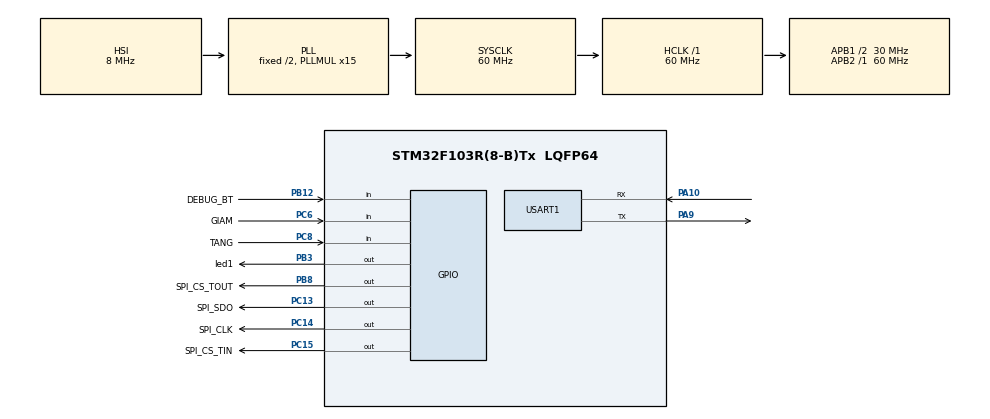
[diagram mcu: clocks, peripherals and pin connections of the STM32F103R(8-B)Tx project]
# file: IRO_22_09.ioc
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Mcu.Family=STM32F1
Mcu.Name=STM32F103R(8-B)Tx
Mcu.Package=LQFP64
NVIC.PriorityGroup=NVIC_PRIORITYGROUP_4
NVIC.TIM2_IRQn=true\:0\:0\:false\:false\:true\:true
NVIC.USART1_IRQn=true\:0\:0\:false\:false\:true\:true
PA10.Mode=Asynchronous
PA10.Signal=USART1_RX
PA13.Mode=Serial_Wire
PA13.Signal=SYS_JTMS-SWDIO
PA14.Mode=Serial_Wire
PA14.Signal=SYS_JTCK-SWCLK
PA9.Mode=Asynchronous
PA9.Signal=USART1_TX
PB12.GPIO_Label=DEBUG_BT
PB12.GPIO_PuPd=GPIO_PULLUP
PB12.Signal=GPIO_Input
PB3.GPIO_Label=led1
PB3.Signal=GPIO_Output
PB8.GPIO_Label=SPI_CS_TOUT
PB8.Signal=GPIO_Output
PC13-TAMPER-RTC.GPIO_Label=SPI_SDO
PC13-TAMPER-RTC.Signal=GPIO_Output
PC14-OSC32_IN.GPIO_Label=SPI_CLK
PC14-OSC32_IN.Signal=GPIO_Output
PC15-OSC32_OUT.GPIO_Label=SPI_CS_TIN
PC15-OSC32_OUT.Signal=GPIO_Output
PC6.GPIO_Label=GIAM
PC6.GPIO_PuPd=GPIO_PULLUP
PC6.Signal=GPIO_Input
PC8.GPIO_Label=TANG
PC8.GPIO_PuPd=GPIO_PULLUP
PC8.Signal=GPIO_Input
ProjectManager.HeapSize=0x200
ProjectManager.StackSize=0x400
ProjectManager.TargetToolchain=MDK-ARM V5
RCC.AHBFreq_Value=60000000
RCC.APB1CLKDivider=RCC_HCLK_DIV2
RCC.APB1Freq_Value=30000000
RCC.APB1TimFreq_Value=60000000
RCC.APB2Freq_Value=60000000
RCC.APB2TimFreq_Value=60000000
RCC.HCLKFreq_Value=60000000
RCC.PLLMUL=RCC_PLL_MUL15
RCC.SYSCLKFreq_VALUE=60000000
RCC.SYSCLKSource=RCC_SYSCLKSOURCE_PLLCLK
RCC.USBFreq_Value=60000000
TIM2.AutoReloadPreload=TIM_AUTORELOAD_PRELOAD_ENABLE
TIM2.Period=9999
TIM2.Prescaler=6000
USART1.VirtualMode=VM_ASYNC
VP_TIM2_VS_ClockSourceINT.Mode=Internal
board=custom

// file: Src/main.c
/**
  ******************************************************************************
  * @file           : main.c
  * @brief          : Main program body
  ******************************************************************************
  ** This notice applies to any and all portions of this file
  * that are not between comment pairs USER CODE BEGIN and
  * USER CODE END. Other portions of this file, whether
  * inserted by the user or by software development tools
  * are owned by their respective copyright owners.
  *
  * COPYRIGHT(c) 2018 STMicroelectronics
  *
  * Redistribution and use in source and binary forms, with or without modification,
  * are permitted provided that the following conditions are met:
  *   1. Redistributions of source code must retain the above copyright notice,
  *      this list of conditions and the following disclaimer.
  *   2. Redistributions in binary form must reproduce the above copyright notice,
  *      this list of conditions and the following disclaimer in the documentation
  *      and/or other materials provided with the distribution.
  *   3. Neither the name of STMicroelectronics nor the names of its contributors
  *      may be used to endorse or promote products derived from this software
  *      without specific prior written permission.
  *
  * THIS SOFTWARE IS PROVIDED BY THE COPYRIGHT HOLDERS AND CONTRIBUTORS "AS IS"
  * AND ANY EXPRESS OR IMPLIED WARRANTIES, INCLUDING, BUT NOT LIMITED TO, THE
  * IMPLIED WARRANTIES OF MERCHANTABILITY AND FITNESS FOR A PARTICULAR PURPOSE ARE
  * DISCLAIMED. IN NO EVENT SHALL THE COPYRIGHT HOLDER OR CONTRIBUTORS BE LIABLE
  * FOR ANY DIRECT, INDIRECT, INCIDENTAL, SPECIAL, EXEMPLARY, OR CONSEQUENTIAL
  * DAMAGES (INCLUDING, BUT NOT LIMITED TO, PROCUREMENT OF SUBSTITUTE GOODS OR
  * SERVICES; LOSS OF USE, DATA, OR PROFITS; OR BUSINESS INTERRUPTION) HOWEVER
  * CAUSED AND ON ANY THEORY OF LIABILITY, WHETHER IN CONTRACT, STRICT LIABILITY,
  * OR TORT (INCLUDING NEGLIGENCE OR OTHERWISE) ARISING IN ANY WAY OUT OF THE USE
  * OF THIS SOFTWARE, EVEN IF ADVISED OF THE POSSIBILITY OF SUCH DAMAGE.
  *
  ******************************************************************************
  */
#include "main.h"
#include "stm32f1xx_hal.h"

/* USER CODE BEGIN Includes */
#include <stdlib.h>
#include <string.h>
#include <math.h>

#define CLK_SET        HAL_GPIO_WritePin(SPI_CLK_GPIO_Port, SPI_CLK_Pin, GPIO_PIN_SET)
#define CLK_RESET      HAL_GPIO_WritePin(SPI_CLK_GPIO_Port, SPI_CLK_Pin, GPIO_PIN_RESET)

#define SDO_SET        HAL_GPIO_WritePin(SPI_SDO_GPIO_Port, SPI_SDO_Pin, GPIO_PIN_SET)
#define SDO_RESET		   HAL_GPIO_WritePin(SPI_SDO_GPIO_Port, SPI_SDO_Pin, GPIO_PIN_RESET)

#define CS_TIN_SET     HAL_GPIO_WritePin(SPI_CS_TIN_GPIO_Port, SPI_CS_TIN_Pin, GPIO_PIN_SET)
#define CS_TIN_RESET   HAL_GPIO_WritePin(SPI_CS_TIN_GPIO_Port, SPI_CS_TIN_Pin, GPIO_PIN_RESET)

#define CS_TOUT_SET    HAL_GPIO_WritePin(SPI_CS_TOUT_GPIO_Port, SPI_CS_TOUT_Pin, GPIO_PIN_SET)
#define CS_TOUT_RESET  HAL_GPIO_WritePin(SPI_CS_TOUT_GPIO_Port, SPI_CS_TOUT_Pin, GPIO_PIN_RESET)

#define DEBUG_MODE_    HAL_GPIO_ReadPin(DEBUG_BT_GPIO_Port, DEBUG_BT_Pin)

#define READ_TANG      HAL_GPIO_ReadPin(TANG_GPIO_Port, TANG_Pin)
#define READ_GIAM    	 HAL_GPIO_ReadPin(GIAM_GPIO_Port, GIAM_Pin)

/* chon kenh TDS */
#define OUT_CHANNEL 1
#define IN_CHANNEL  0

/* lenh ghi du lieu vao MCP41010 */
#define WRITE 0x11

#define ON  1
#define OFF 0

#define NO  0
#define OK  1

#define EN  1
#define DIS 0

#define DEBUG_MODE 1
#define TABLE_MODE 0

#define GET_TABLE_CNO 	HAL_UART_Transmit(&huart1, (uint8_t*)"[ADC_TABLE,1]", 13, 100);
#define GET_TABLE_CNI 	HAL_UART_Transmit(&huart1, (uint8_t*)"[ADC_TABLE,0]", 13, 100);

#define DEBUG_ON				HAL_UART_Transmit(&huart1, (uint8_t*)"[DEBUG_EN,1]", 12, 100);
#define DEBUG_OFF				HAL_UART_Transmit(&huart1, (uint8_t*)"[DEBUG_EN,0]", 12, 100);
/* USER CODE END Includes */

TIM_HandleTypeDef htim2;

UART_HandleTypeDef huart1;

/* USER CODE BEGIN PV */
/* Private variables ---------------------------------------------------------*/
typedef struct
{
	uint8_t byteRX;     /* byte nhan ve sau 1 lan ngat */
	uint8_t arrRX[110]; /* mang du lieu nhan duoc sau khi ket thuc chuoi */
	int8_t countRX;    /* bien dem so luong byte nhan duoc */
} RX_buffer;

RX_buffer rxBuffer_t;

typedef struct
{
	uint8_t arrLVT[30]; /* mang luu vi tri cac dau '['   ','   ']' */
	uint8_t countVT;    /* bien dem so luong phan tu cuar arrLVT */

	int16_t value[25];
} RX_TYPE;

RX_TYPE rxTable_t, rxDebug_t;

uint8_t flag_mode  = TABLE_MODE;
uint8_t flag_table_done = NO;
uint8_t flag_debug_mode = OFF;
uint8_t flag_debug_done = NO;
uint16_t MIN = 0;
uint8_t save;
uint16_t valueMCP;
/* USER CODE END PV */

void SystemClock_Config(void);
static void MX_GPIO_Init(void);
static void MX_TIM2_Init(void);
static void MX_USART1_UART_Init(void);

/* USER CODE BEGIN PFP */
/* Private function prototypes -----------------------------------------------*/

/* USER CODE END PFP */

/* USER CODE BEGIN 0 */

/* Rab = 10k, Rw = 73
 * Raw = Rab*(256-data)/256 + Rw
 * Rwb = Rab*data/256 + Rw
 */
void SPISW_writeData(uint8_t channel, uint8_t datain)
{
	/* init bus */
	CS_TIN_SET;
	CS_TOUT_SET;
	CLK_RESET;
	SDO_RESET;
	/* count 16 bit : 8bit command and 8bit data */
	uint8_t cnt;
	/* 2byte temp = byte com + byte data */
	uint16_t temp;
	temp = (WRITE<<8) | datain;

	if(channel == IN_CHANNEL)  CS_TIN_RESET;
	else 	if(channel == OUT_CHANNEL) CS_TOUT_RESET;

	/* SPI shift 16bit */
	for(cnt = 0; cnt < 16; cnt++)
	{
		CLK_RESET;
		(temp & 0x8000) ? SDO_SET : SDO_RESET;
		CLK_SET;
		temp <<= 1;
	}

	CLK_RESET;
	CS_TIN_SET;
	CS_TOUT_SET;
}

void tachDau(RX_TYPE *RX, RX_buffer *rxBuf)
{
	uint8_t *ptrLVT  = RX->arrLVT;
	uint8_t cnt;
	uint8_t countVT = 0;

	uint8_t *ptrBufferRX = rxBuf->arrRX;
	int8_t countRX = rxBuf->countRX;
	//count  = RX->countVT;

//	if(ptrBufferRX[0] == '[')
//	{
		//RX->countVT = 0;
		ptrLVT[countVT] = 0;  /* vi tri dau '[' */
		for(cnt = 1; cnt < countRX; cnt++)
		{
			if(ptrBufferRX[cnt] == ',')
			{
				countVT++;
				ptrLVT[countVT] = cnt;
			}
		}
		countVT++;
		RX->countVT = countVT;
		ptrLVT[countVT] = countRX; /* vi tri dau ']' */
		ptrLVT[countVT+1] = 0xFF; /* thong bao ket thuc mang LVT */
//	}
}

/* destination : dich den */
void tachChuoi(uint8_t *des, uint8_t *src, uint8_t begin, uint8_t length)
{
	memcpy(des, (const char*)(src+begin), length);
	des[length] = '\0';
}

/* tach tu mang rx buffer cac gia tri luu vao value */
void tachGiatri(RX_TYPE *RX, RX_buffer *rxBuf)
{

	tachDau(RX, rxBuf);

	uint8_t *ptrLVT = RX->arrLVT;
	int8_t countVT = RX->countVT;
	int16_t *ptrValue = RX->value;

	uint8_t *ptrBufferRX = rxBuf->arrRX;
	uint8_t buf[15];

	for(uint8_t cnt = 0; cnt < countVT; cnt++)
	{
		tachChuoi(buf, ptrBufferRX, ptrLVT[cnt]+1, ptrLVT[cnt+1] - ptrLVT[cnt] - 1);
		ptrValue[cnt] = atoi((const char*)buf);
	}
}
void xoaBuffer()
{
	for(uint8_t i = 0; i < 110; i++) rxBuffer_t.arrRX[i] = '\0';
}

void HAL_TIM_PeriodElapsedCallback(TIM_HandleTypeDef *htim)
{
	if(htim->Instance == htim2.Instance)
	{
		HAL_GPIO_TogglePin(led1_GPIO_Port, led1_Pin);
	}
}

/* ngat nhan chi de doc ban tin du lieu co dinh dang [abcd,efgh,z] => countRX = 12 */
/* nhan het 1 ban tin thi dung lai khong doc nua */
void HAL_UART_RxCpltCallback(UART_HandleTypeDef *huart)
{
	if(huart->Instance == huart1.Instance)
	{
		if(rxBuffer_t.byteRX == '[')
		{
			//xoaBuffer();
			rxBuffer_t.countRX = 0;
			rxBuffer_t.arrRX[rxBuffer_t.countRX] = rxBuffer_t.byteRX;
			HAL_UART_Receive_IT(&huart1, (uint8_t*)&rxBuffer_t.byteRX, 1);
		}

		else if(rxBuffer_t.byteRX != ']')
		{
			rxBuffer_t.countRX++;
			if(rxBuffer_t.countRX >= 110) rxBuffer_t.countRX = 0;
			rxBuffer_t.arrRX[rxBuffer_t.countRX] = rxBuffer_t.byteRX;
			HAL_UART_Receive_IT(&huart1, (uint8_t*)&rxBuffer_t.byteRX, 1);
		}

		else if(rxBuffer_t.byteRX == ']')
		{
			rxBuffer_t.countRX++;
			if(rxBuffer_t.countRX >= 110) rxBuffer_t.countRX = 0;
			rxBuffer_t.arrRX[rxBuffer_t.countRX] = rxBuffer_t.byteRX;
			if(flag_mode == DEBUG_MODE && flag_debug_done == NO)
			{
				if(rxBuffer_t.arrRX[0] == '[') flag_debug_done = OK;
				else HAL_UART_Receive_IT(&huart1, (uint8_t*)&rxBuffer_t.byteRX, 1);  // neu nhan het 1 chuoi ma ky tu dau khong phai '[' thi nhan lai
			}
			else if(flag_table_done == NO) flag_table_done = OK; 	  // chi nhan 1 lan ADC table
		}
	}
}

/* USER CODE END 0 */

int main(void)
{

  /* MCU Configuration----------------------------------------------------------*/

  /* Reset of all peripherals, Initializes the Flash interface and the Systick. */
  HAL_Init();

  /* Configure the system clock */
  SystemClock_Config();

  /* Initialize all configured peripherals */
  MX_GPIO_Init();
  MX_TIM2_Init();
  MX_USART1_UART_Init();
  /* USER CODE BEGIN 2 */

	/* cho phep nhan 1 ky tu roi nhay vao ngat */
	HAL_UART_Receive_IT(&huart1, (uint8_t*)&rxBuffer_t.byteRX, 1);
	GET_TABLE_CNI;

	flag_mode = TABLE_MODE;
	/* cho cho den khi gui ve bang gia tri table ADC 1 lan, led nhay tan so 5Hz, neu nhan xong led nhay voi tan so 1Hz */
	while(flag_table_done == NO)
  {
		HAL_GPIO_TogglePin(led1_GPIO_Port, led1_Pin);
		HAL_Delay(200);
	}
	flag_debug_done = NO;
	tachGiatri(&rxTable_t, &rxBuffer_t);

	//flag_debug_mode = EN;

	HAL_UART_Receive_IT(&huart1, (uint8_t*)&rxBuffer_t.byteRX, 1);
	flag_mode = DEBUG_MODE;
	DEBUG_ON;          // gui lenh nhan gia tri debug
	while(flag_debug_done == NO)
  {
		HAL_GPIO_TogglePin(led1_GPIO_Port, led1_Pin);
		HAL_Delay(100);
	}  // bo qua chuoi trang thai debug tra ve [DEBUG_EN,0]
	flag_debug_done = NO;
	HAL_UART_Receive_IT(&huart1, (uint8_t*)&rxBuffer_t.byteRX, 1);
	//HAL_TIM_Base_Start_IT(&htim2);
//	while(flag_debug_done == NO)   // doc ve gia tri 2 kenh IN, OUT lan dau [xxxx,yyyy]
//	flag_debug_done = NO;
//	tachGiatri(&rxDebug_t, &rxBuffer_t);
  /* USER CODE END 2 */

  /* Infinite loop */
  while (1)
  {

  /* USER CODE BEGIN 3 */

		/* lay bang gia tri 1 lan */

		/* cai tung gia tri dien tro roi doc ve gia tri ADC, so sanh neu bam sat gia tri luu trong bang ADC_TABLE thi dung */
//		for(valueMCP = 0; valueMCP < 256; valueMCP++)
//		{
//			SPISW_writeData(IN_CHANNEL, valueMCP);
//			xoaBuffer();
//			HAL_UART_Receive_IT(&huart1, (uint8_t*)&rxBuffer_t.byteRX, 1);
//			while(flag_debug_done == NO)
//			{
//				HAL_GPIO_TogglePin(led1_GPIO_Port, led1_Pin);
//				HAL_Delay(1000);
//			}
//			flag_debug_done = NO;
//			tachGiatri(&rxDebug_t, &rxBuffer_t);
//			if(abs(rxDebug_t.value[0] - rxTable_t.value[7]) <= 2) break;
//		}
//
//		while(1)
//		{
//		}
		xoaBuffer();
		HAL_UART_Receive(&huart1, (uint8_t*)rxBuffer_t.arrRX, 15, 100);
	  //HAL_Delay(1000);
		//HAL_UART_Receive_IT(&huart1, (uint8_t*)&rxBuffer_t.byteRX, 1);
	}
  /* USER CODE END 3 */
}

void SystemClock_Config(void)
{

  RCC_OscInitTypeDef RCC_OscInitStruct;
  RCC_ClkInitTypeDef RCC_ClkInitStruct;

    /**Initializes the CPU, AHB and APB busses clocks
    */
  RCC_OscInitStruct.OscillatorType = RCC_OSCILLATORTYPE_HSI;
  RCC_OscInitStruct.HSIState = RCC_HSI_ON;
  RCC_OscInitStruct.HSICalibrationValue = 16;
  RCC_OscInitStruct.PLL.PLLState = RCC_PLL_ON;
  RCC_OscInitStruct.PLL.PLLSource = RCC_PLLSOURCE_HSI_DIV2;
  RCC_OscInitStruct.PLL.PLLMUL = RCC_PLL_MUL15;
  if (HAL_RCC_OscConfig(&RCC_OscInitStruct) != HAL_OK)
  {
    _Error_Handler(__FILE__, __LINE__);
  }

    /**Initializes the CPU, AHB and APB busses clocks
    */
  RCC_ClkInitStruct.ClockType = RCC_CLOCKTYPE_HCLK|RCC_CLOCKTYPE_SYSCLK
                              |RCC_CLOCKTYPE_PCLK1|RCC_CLOCKTYPE_PCLK2;
  RCC_ClkInitStruct.SYSCLKSource = RCC_SYSCLKSOURCE_PLLCLK;
  RCC_ClkInitStruct.AHBCLKDivider = RCC_SYSCLK_DIV1;
  RCC_ClkInitStruct.APB1CLKDivider = RCC_HCLK_DIV2;
  RCC_ClkInitStruct.APB2CLKDivider = RCC_HCLK_DIV1;

  if (HAL_RCC_ClockConfig(&RCC_ClkInitStruct, FLASH_LATENCY_2) != HAL_OK)
  {
    _Error_Handler(__FILE__, __LINE__);
  }

    /**Configure the Systick interrupt time
    */
  HAL_SYSTICK_Config(HAL_RCC_GetHCLKFreq()/1000);

    /**Configure the Systick
    */
  HAL_SYSTICK_CLKSourceConfig(SYSTICK_CLKSOURCE_HCLK);

  /* SysTick_IRQn interrupt configuration */
  HAL_NVIC_SetPriority(SysTick_IRQn, 0, 0);
}

/* TIM2 init function */
static void MX_TIM2_Init(void)
{

  TIM_ClockConfigTypeDef sClockSourceConfig;
  TIM_MasterConfigTypeDef sMasterConfig;

  htim2.Instance = TIM2;
  htim2.Init.Prescaler = 6000;
  htim2.Init.CounterMode = TIM_COUNTERMODE_UP;
  htim2.Init.Period = 9999;
  htim2.Init.ClockDivision = TIM_CLOCKDIVISION_DIV1;
  htim2.Init.AutoReloadPreload = TIM_AUTORELOAD_PRELOAD_ENABLE;
  if (HAL_TIM_Base_Init(&htim2) != HAL_OK)
  {
    _Error_Handler(__FILE__, __LINE__);
  }

  sClockSourceConfig.ClockSource = TIM_CLOCKSOURCE_INTERNAL;
  if (HAL_TIM_ConfigClockSource(&htim2, &sClockSourceConfig) != HAL_OK)
  {
    _Error_Handler(__FILE__, __LINE__);
  }

  sMasterConfig.MasterOutputTrigger = TIM_TRGO_RESET;
  sMasterConfig.MasterSlaveMode = TIM_MASTERSLAVEMODE_DISABLE;
  if (HAL_TIMEx_MasterConfigSynchronization(&htim2, &sMasterConfig) != HAL_OK)
  {
    _Error_Handler(__FILE__, __LINE__);
  }

}

/* USART1 init function */
static void MX_USART1_UART_Init(void)
{

  huart1.Instance = USART1;
  huart1.Init.BaudRate = 115200;
  huart1.Init.WordLength = UART_WORDLENGTH_8B;
  huart1.Init.StopBits = UART_STOPBITS_1;
  huart1.Init.Parity = UART_PARITY_NONE;
  huart1.Init.Mode = UART_MODE_TX_RX;
  huart1.Init.HwFlowCtl = UART_HWCONTROL_NONE;
  huart1.Init.OverSampling = UART_OVERSAMPLING_16;
  if (HAL_UART_Init(&huart1) != HAL_OK)
  {
    _Error_Handler(__FILE__, __LINE__);
  }

}

/** Configure pins as
        * Analog
        * Input
        * Output
        * EVENT_OUT
        * EXTI
*/
static void MX_GPIO_Init(void)
{

  GPIO_InitTypeDef GPIO_InitStruct;

  /* GPIO Ports Clock Enable */
  __HAL_RCC_GPIOC_CLK_ENABLE();
  __HAL_RCC_GPIOB_CLK_ENABLE();
  __HAL_RCC_GPIOA_CLK_ENABLE();

  /*Configure GPIO pin Output Level */
  HAL_GPIO_WritePin(GPIOC, SPI_SDO_Pin|SPI_CLK_Pin|SPI_CS_TIN_Pin, GPIO_PIN_RESET);

  /*Configure GPIO pin Output Level */
  HAL_GPIO_WritePin(GPIOB, led1_Pin|SPI_CS_TOUT_Pin, GPIO_PIN_RESET);

  /*Configure GPIO pins : SPI_SDO_Pin SPI_CLK_Pin SPI_CS_TIN_Pin */
  GPIO_InitStruct.Pin = SPI_SDO_Pin|SPI_CLK_Pin|SPI_CS_TIN_Pin;
  GPIO_InitStruct.Mode = GPIO_MODE_OUTPUT_PP;
  GPIO_InitStruct.Pull = GPIO_NOPULL;
  GPIO_InitStruct.Speed = GPIO_SPEED_FREQ_LOW;
  HAL_GPIO_Init(GPIOC, &GPIO_InitStruct);

  /*Configure GPIO pin : DEBUG_BT_Pin */
  GPIO_InitStruct.Pin = DEBUG_BT_Pin;
  GPIO_InitStruct.Mode = GPIO_MODE_INPUT;
  GPIO_InitStruct.Pull = GPIO_PULLUP;
  HAL_GPIO_Init(DEBUG_BT_GPIO_Port, &GPIO_InitStruct);

  /*Configure GPIO pins : GIAM_Pin TANG_Pin */
  GPIO_InitStruct.Pin = GIAM_Pin|TANG_Pin;
  GPIO_InitStruct.Mode = GPIO_MODE_INPUT;
  GPIO_InitStruct.Pull = GPIO_PULLUP;
  HAL_GPIO_Init(GPIOC, &GPIO_InitStruct);

  /*Configure GPIO pins : led1_Pin SPI_CS_TOUT_Pin */
  GPIO_InitStruct.Pin = led1_Pin|SPI_CS_TOUT_Pin;
  GPIO_InitStruct.Mode = GPIO_MODE_OUTPUT_PP;
  GPIO_InitStruct.Pull = GPIO_NOPULL;
  GPIO_InitStruct.Speed = GPIO_SPEED_FREQ_LOW;
  HAL_GPIO_Init(GPIOB, &GPIO_InitStruct);

}

void _Error_Handler(char *file, int line)
{
  while(1)
  {
  }
}

/************************ (C) COPYRIGHT STMicroelectronics *****END OF FILE****/
